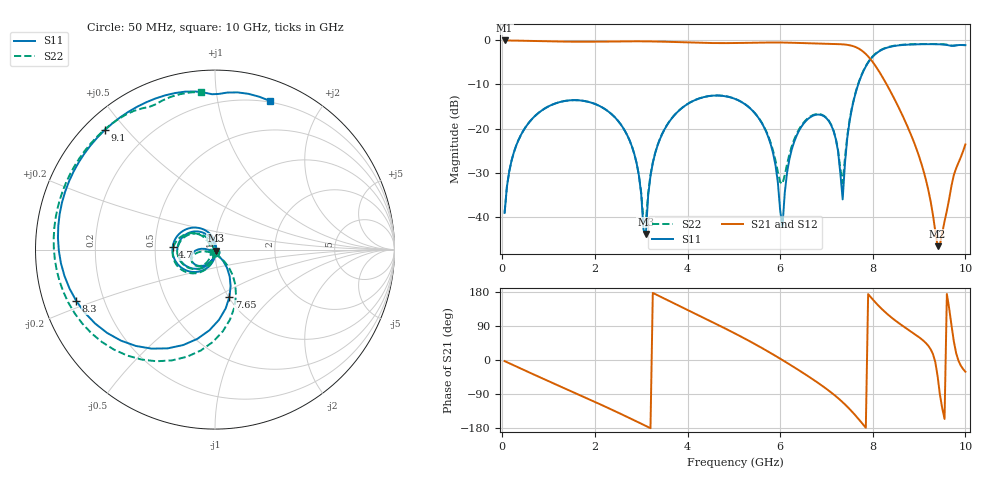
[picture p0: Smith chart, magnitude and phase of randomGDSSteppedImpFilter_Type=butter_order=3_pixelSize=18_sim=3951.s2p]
! freq	dB(S11)	phase(S11)	dB(S12)	phase(S12)
!  dB(S21)	phase(S21)	dB(S22)	phase(S22)
!S-par simulation data
#  GHz  S  DB  R 50
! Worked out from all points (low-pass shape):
!   200 points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, 50 MHz to 10 GHz, reference 50 ohm
!   highest |S21| = -0.01 dB at 50 MHz (marker M1); lowest = -46.7 dB at 9.4 GHz (marker M2)
!   |S21| within 3 dB of the highest: start of sweep to 7.842 GHz
!   lowest |S11| = -43.9 dB at 3.1 GHz (marker M3), VSWR 1.01, Z = 50.4 - j0.529 ohm
!   |S11| at or under -10 dB: start of sweep to 7.686 GHz
!   |S22| runs from -41.1 to -0.8 dB; largest |S21 - S12| = 0
!   S11 on the Smith chart (normalised r, x): 50 MHz: 1.00, -0.02; 4.7 GHz: 0.62, +0.02; 7.65 GHz: 1.01, -0.58; 8.3 GHz: 0.10, -0.18; 9.1 GHz: 0.06, +0.44; 10 GHz: 0.19, +1.42
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0.05  -39.16 -92.2  -0.01 -2.9  -0.01 -2.9  -39.12 -92.0
0.5  -19.74 -118.4  -0.09 -28.2  -0.09 -28.2  -19.73 -117.6
1.75  -13.71 170.7  -0.30 -96.9  -0.30 -96.9  -13.71 174.4
2.7  -21.57 114.9  -0.21 -150.4  -0.21 -150.4  -21.57 124.9
3.1  -43.93 -55.6  -0.22 -174.0  -0.22 -174.0  -41.15 -131.6
3.2  -30.77 -86.3  -0.23 -180.0  -0.23 -180.0  -30.51 -101.0
3.4  -22.52 -102.4  -0.27 168.1  -0.27 168.1  -22.45 -104.8
4.7  -12.53 176.4  -0.61 90.1  -0.61 90.1  -12.51 -175.5
5.05  -13.38 154.0  -0.59 68.4  -0.59 68.4  -13.36 164.8
5.75  -22.11 103.2  -0.47 21.6  -0.47 21.6  -21.88 130.8
6.05  -42.22 -32.7  -0.48 -0.1  -0.48 -0.1  -32.55 -164.1
6.25  -24.78 -103.9  -0.53 -15.1  -0.53 -15.1  -24.05 -121.7
6.7  -17.13 -143.5  -0.70 -50.5  -0.70 -50.5  -16.98 -141.7
7.15  -20.46 179.5  -0.81 -90.4  -0.81 -90.4  -20.35 -170.8
7.35  -36.08 -109.8  -0.89 -111.4  -0.89 -111.4  -32.37 -102.5
7.45  -22.12 -54.3  -1.01 -123.2  -1.01 -123.2  -21.63 -51.9
7.65  -11.18 -73.1  -1.61 -149.7  -1.61 -149.7  -11.02 -65.4
8.3  -1.68 -159.7  -9.99 122.8  -9.99 122.8  -1.60 -145.9
8.35  -1.52 -165.0  -10.95 117.5  -10.95 117.5  -1.45 -150.9
9.1  -0.86 132.7  -29.77 50.2  -29.77 50.2  -0.82 152.4
9.4  -0.87 111.5  -46.71 -42.8  -46.71 -42.8  -0.83 133.4
10  -1.08 69.8  -23.60 -30.9  -23.60 -30.9  -1.09 95.2
